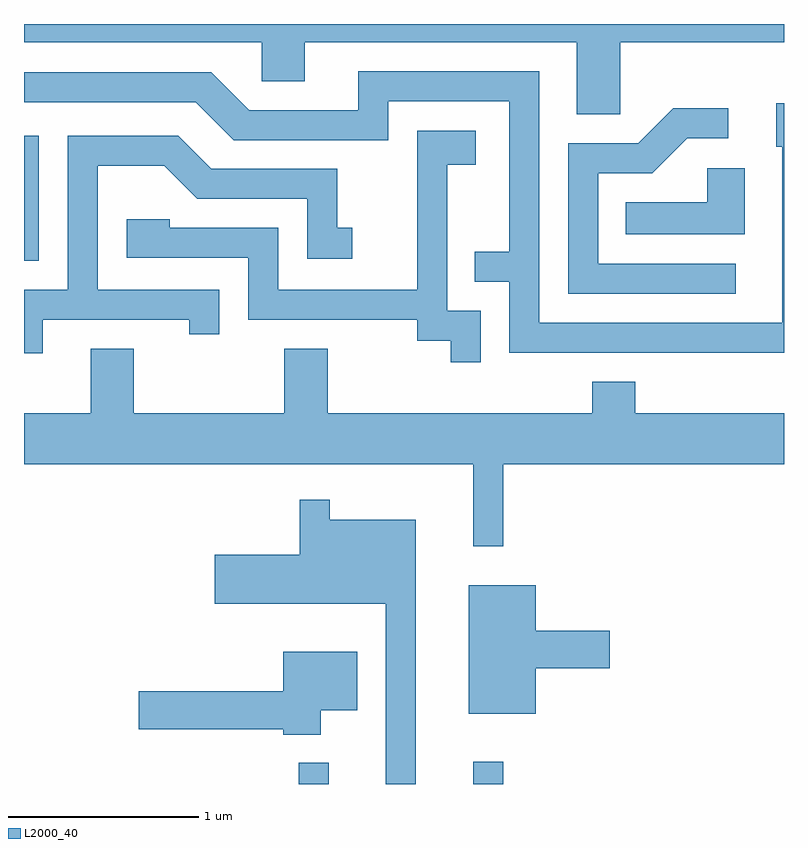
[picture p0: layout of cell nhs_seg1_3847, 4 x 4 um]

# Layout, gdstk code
import gdstk
lib = gdstk.Library(unit=1e-6, precision=1e-09)
def R(c, l, rs):  # rectangles x0, y0, x1, y1
    for r in rs: c.add(gdstk.rectangle(r[:2], r[2:], *l))
def P(c, l, *ps):  # polygons
    for p in ps: c.add(gdstk.Polygon(p, *l))
L2000_40 = (2000, 40)

nhs_seg1_3847 = lib.new_cell('nhs_seg1_3847')
R(nhs_seg1_3847, L2000_40, [(303.056,855.712,303.214,855.823), (303.976,855.712,304.134,855.828), (301.611,858.466,301.689,859.124)])
P(nhs_seg1_3847, L2000_40, [(304.749,859.616),(305.611,859.616),(305.611,859.712),(301.611,859.712),(301.611,859.616),(302.861,859.616),(302.861,859.411),(303.089,859.411),(303.089,859.616),(304.521,859.616),(304.521,859.236),(304.749,859.236)],
  [(305.611,859.294),(305.571,859.294),(305.571,859.066),(305.601,859.066),(305.601,858.139),(304.324,858.139),(304.324,859.464),(303.371,859.464),(303.371,859.259),(302.797,859.259),(302.597,859.459),(301.611,859.459),(301.611,859.301),(302.514,859.301),(302.714,859.101),(303.529,859.101),(303.529,859.306),(304.166,859.306),(304.166,858.514),(303.983,858.514),(303.983,858.356),(304.166,858.356),(304.166,857.981),(305.611,857.981)],
  [(305.358,858.449),(304.634,858.449),(304.634,858.926),(304.917,858.926),(305.102,859.111),(305.318,859.111),(305.318,859.269),(305.029,859.269),(304.844,859.084),(304.476,859.084),(304.476,858.291),(305.358,858.291)],
  [(304.014,858.204),(303.839,858.204),(303.839,858.971),(303.989,858.971),(303.989,859.149),(303.681,859.149),(303.681,858.314),(302.949,858.314),(302.949,858.639),(302.379,858.639),(302.379,858.684),(302.151,858.684),(302.151,858.481),(302.791,858.481),(302.791,858.156),(303.681,858.156),(303.681,858.046),(303.856,858.046),(303.856,857.933),(304.014,857.933)],
  [(301.709,858.156),(302.481,858.156),(302.481,858.078),(302.639,858.078),(302.639,858.314),(301.999,858.314),(301.999,858.966),(302.349,858.966),(302.524,858.791),(303.101,858.791),(303.101,858.476),(303.338,858.476),(303.338,858.639),(303.259,858.639),(303.259,858.949),(302.597,858.949),(302.422,859.124),(301.841,859.124),(301.841,858.314),(301.611,858.314),(301.611,857.978),(301.709,857.978)],
  [(305.404,858.954),(305.206,858.954),(305.206,858.774),(304.778,858.774),(304.778,858.606),(305.404,858.606)],
  [(304.134,857.396),(305.611,857.396),(305.611,857.664),(304.829,857.664),(304.829,857.829),(304.601,857.829),(304.601,857.664),(303.209,857.664),(303.209,858.004),(302.981,858.004),(302.981,857.664),(302.189,857.664),(302.189,858.004),(301.961,858.004),(301.961,857.664),(301.611,857.664),(301.611,857.396),(303.976,857.396),(303.976,856.963),(304.134,856.963)],
  [(303.674,857.104),(303.219,857.104),(303.219,857.208),(303.061,857.208),(303.061,856.919),(302.616,856.919),(302.616,856.661),(303.516,856.661),(303.516,855.712),(303.674,855.712)],
  [(304.304,856.321),(304.694,856.321),(304.694,856.519),(304.304,856.519),(304.304,856.759),(303.951,856.759),(303.951,856.081),(304.304,856.081)],
  [(303.174,856.101),(303.364,856.101),(303.364,856.409),(302.976,856.409),(302.976,856.199),(302.216,856.199),(302.216,856.001),(302.976,856.001),(302.976,855.971),(303.174,855.971)])

lib.write_gds('nhs_seg1_3847.gds')
